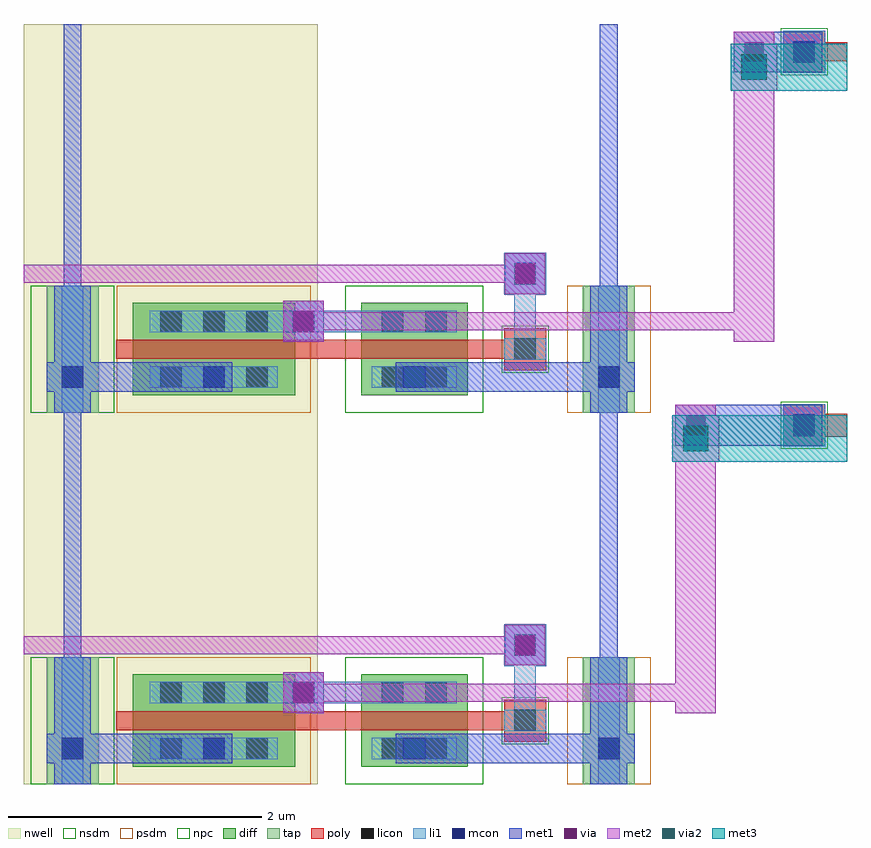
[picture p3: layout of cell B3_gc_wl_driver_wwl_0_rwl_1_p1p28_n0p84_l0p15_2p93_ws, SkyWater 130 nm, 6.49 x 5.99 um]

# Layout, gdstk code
import gdstk
lib = gdstk.Library(unit=1e-6, precision=1e-09)
def R(c, l, rs):  # rectangles x0, y0, x1, y1
    for r in rs: c.add(gdstk.rectangle(r[:2], r[2:], *l))
def A(c, l, x, y, w, h, nx, ny, dx, dy):  # array of equal rectangles
    R(c, l, [(x+i*dx, y+j*dy, x+i*dx+w, y+j*dy+h) for i in range(nx) for j in range(ny)])
nwell = (64, 20)
diff = (65, 20)
tap = (65, 44)
poly = (66, 20)
licon = (66, 44)
li1 = (67, 20)
mcon = (67, 44)
met1 = (68, 20)
via = (68, 44)
met2 = (69, 20)
via2 = (69, 44)
met3 = (70, 20)
nsdm = (93, 44)
psdm = (94, 20)
npc = (95, 20)

b3_gc_inv_p1p28_n0p84_l0 = lib.new_cell('B3_gc_inv_p1p28_n0p84_l0p15')
R(b3_gc_inv_p1p28_n0p84_l0, nwell, [(0,-0.135,2.32,0.865)])
R(b3_gc_inv_p1p28_n0p84_l0, diff, [(0.86,0,2.14,0.73), (2.66,0,3.5,0.73)])
R(b3_gc_inv_p1p28_n0p84_l0, tap, [(0.18,-0.135,0.59,0.865), (4.41,-0.135,4.82,0.865)])
R(b3_gc_inv_p1p28_n0p84_l0, poly, [(3.79,0.2,4.12,0.53), (0.73,0.29,3.63,0.44), (0.73,0.29,2.27,0.44), (2.53,0.29,3.63,0.44), (3.63,0.29,3.795,0.44)])
A(b3_gc_inv_p1p28_n0p84_l0, licon, 1.075, 0.06, 0.17, 0.17, 3, 2, 0.34, 0.44)
R(b3_gc_inv_p1p28_n0p84_l0, licon, [(0.3,0.06,0.47,0.23), (2.825,0.06,2.995,0.23), (3.165,0.06,3.335,0.23), (4.53,0.06,4.7,0.23), (3.87,0.28,4.04,0.45), (2.825,0.5,2.995,0.67), (3.165,0.5,3.335,0.67)])
R(b3_gc_inv_p1p28_n0p84_l0, li1, [(0.3,-0.135,0.47,0.865), (4.53,-0.135,4.7,0.865), (0.995,0.06,2.005,0.23), (2.745,0.06,3.415,0.23), (3.79,0.28,4.12,0.45), (0.995,0.5,3.415,0.67), (0.995,0.5,2.005,0.67), (2.745,0.5,3.415,0.67)])
R(b3_gc_inv_p1p28_n0p84_l0, mcon, [(0.3,0.06,0.47,0.23), (1.415,0.06,1.585,0.23), (2.995,0.06,3.165,0.23), (4.53,0.06,4.7,0.23)])
R(b3_gc_inv_p1p28_n0p84_l0, met1, [(0.24,-0.135,0.53,0.865), (4.47,-0.135,4.76,0.865), (0.24,0,0.53,0.29), (4.47,0,4.76,0.29), (0.18,0.03,1.645,0.26), (1.355,0.03,1.645,0.26), (2.935,0.03,4.82,0.26), (2.935,0.03,3.225,0.26)])
R(b3_gc_inv_p1p28_n0p84_l0, nsdm, [(0.055,-0.135,0.715,0.865), (2.535,-0.135,3.625,0.865)])
R(b3_gc_inv_p1p28_n0p84_l0, psdm, [(0.735,-0.135,2.265,0.865), (4.285,-0.135,4.945,0.865)])
R(b3_gc_inv_p1p28_n0p84_l0, npc, [(3.77,0.18,4.14,0.55)])
b3_gc_inv_p1p28_n0p84_l0.add(gdstk.Label('vss', (4.615,0.145), layer=68, texttype=5))
b3_gc_inv_p1p28_n0p84_l0.add(gdstk.Label('vdd', (0.385,0.145), layer=68, texttype=5))
b3_gc_inv_p1p28_n0p84_l0.add(gdstk.Label('y', (2.205,0.585), layer=67, texttype=5))
b3_gc_inv_p1p28_n0p84_l0.add(gdstk.Label('a', (3.955,0.365), layer=67, texttype=5))

b3_gc_wl_driver_wwl_0_rw = lib.new_cell('B3_gc_wl_driver_wwl_0_rwl_1_p1p28_n0p84_l0p15_2p93_ws')
R(b3_gc_wl_driver_wwl_0_rw, nwell, [(0,0,2.32,5.86)])
R(b3_gc_wl_driver_wwl_0_rw, poly, [(5.99,2.53,6.32,2.86), (6.315,2.605,6.495,2.785), (5.99,5.475,6.32,5.805), (6.315,5.565,6.495,5.715)])
R(b3_gc_wl_driver_wwl_0_rw, licon, [(6.07,2.61,6.24,2.78), (6.07,5.555,6.24,5.725)])
R(b3_gc_wl_driver_wwl_0_rw, li1, [(3.87,0.365,4.04,0.96), (3.79,0.795,4.12,1.125), (5.99,2.53,6.32,2.86), (3.87,3.295,4.04,3.89), (3.79,3.725,4.12,4.055), (5.99,5.475,6.32,5.805)])
R(b3_gc_wl_driver_wwl_0_rw, mcon, [(2.12,0.5,2.29,0.67), (3.87,0.875,4.04,1.045), (6.07,2.61,6.24,2.78), (2.12,3.43,2.29,3.6), (3.87,3.805,4.04,3.975), (6.07,5.555,6.24,5.725)])
R(b3_gc_wl_driver_wwl_0_rw, met1, [(0.315,0,0.455,5.86), (4.545,0,4.685,5.86), (2.045,0.425,2.365,0.745), (3.795,0.8,4.115,1.12), (5.14,2.535,6.3,2.855), (5.14,2.535,5.46,2.855), (6.01,2.55,6.3,2.84), (2.045,3.355,2.365,3.675), (3.795,3.73,4.115,4.05), (5.6,5.48,6.3,5.8), (5.6,5.48,5.92,5.8), (6.01,5.495,6.3,5.785)])
R(b3_gc_wl_driver_wwl_0_rw, via, [(2.13,0.51,2.28,0.66), (3.88,0.885,4.03,1.035), (5.225,2.62,5.375,2.77), (2.13,3.44,2.28,3.59), (3.88,3.815,4.03,3.965), (5.685,5.565,5.835,5.715)])
R(b3_gc_wl_driver_wwl_0_rw, met2, [(2.045,0.425,2.365,0.745), (5.14,0.425,5.46,2.855), (2.205,0.515,5.46,0.655), (3.795,0.8,4.115,1.12), (0,0.89,4.025,1.03), (5.115,2.405,5.485,2.775), (5.14,2.535,5.46,2.855), (5.115,2.59,5.485,2.695), (2.045,3.355,2.365,3.675), (5.6,3.355,5.92,5.8), (2.205,3.445,5.92,3.585), (3.795,3.73,4.115,4.05), (0,3.82,4.025,3.96), (5.575,5.335,5.945,5.705), (5.6,5.48,5.92,5.8), (5.575,5.52,5.945,5.64)])
R(b3_gc_wl_driver_wwl_0_rw, via2, [(5.2,2.49,5.4,2.69), (5.66,5.42,5.86,5.62)])
R(b3_gc_wl_driver_wwl_0_rw, met3, [(5.115,2.405,6.495,2.775), (5.115,2.405,5.485,2.775), (5.575,5.335,6.495,5.705), (5.575,5.335,5.945,5.705)])
R(b3_gc_wl_driver_wwl_0_rw, npc, [(5.97,2.51,6.34,2.88), (5.97,5.455,6.34,5.825)])
b3_gc_wl_driver_wwl_0_rw.add(gdstk.Reference(b3_gc_inv_p1p28_n0p84_l0, (0,0)))
b3_gc_wl_driver_wwl_0_rw.add(gdstk.Reference(b3_gc_inv_p1p28_n0p84_l0, (0,2.93)))

lib.write_gds('B3_gc_wl_driver_wwl_0_rwl_1_p1p28_n0p84_l0p15_2p93_ws.gds')
